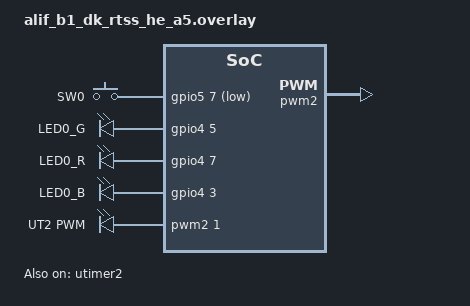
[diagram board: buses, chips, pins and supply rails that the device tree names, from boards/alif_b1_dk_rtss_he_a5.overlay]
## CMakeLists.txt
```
# Copyright (C) 2024 Alif Semiconductor - All Rights Reserved.
# Use, distribution and modification of this code is permitted under the
# terms stated in the Alif Semiconductor Software License Agreement
#
# You should have received a copy of the Alif Semiconductor Software
# License Agreement with this file. If not, please write to:
# contact@alifsemi.com, or visit: https://alifsemi.com/license

cmake_minimum_required(VERSION 3.13.1)

if(CONFIG_CHIP_FACTORY_DATA)
set(EXTRA_DTC_OVERLAY_FILE "b1_factorydata_partition.overlay")
set(OVERLAY_CONFIG "factory_data.conf")
endif()

find_package(Zephyr REQUIRED HINTS $ENV{ZEPHYR_BASE})
project(matter-lighting-app)

set(CHIP_ROOT ${ZEPHYR_CONNECTEDHOMEIP_MODULE_DIR})
set(ALIF_COMMON ${ZEPHYR_SDK_ALIF_MODULE_DIR}/subsys/matter)
set(ALIF_PLATFORM ${CHIP_ROOT}/examples/platform/alif)
set(LIGHTING_COMMON ${CHIP_ROOT}/examples/lighting-app/lighting-common)
set(MATTER_GEN_DIR ${CHIP_ROOT}/zzz_generated/)

include(${ZEPHYR_CONNECTEDHOMEIP_MODULE_DIR}/config/alif/app/enable-gnu-std.cmake)
include(${ZEPHYR_CONNECTEDHOMEIP_MODULE_DIR}/src/app/chip_data_model.cmake)

# -Wmaybe-uninitialized has too many false positives, including on std::optional
# and chip::Optional.  Make it nonfatal.
#
# See https://gcc.gnu.org/bugzilla/show_bug.cgi?id=80635
target_compile_options(app PRIVATE -Werror -Wno-error=maybe-uninitialized)

target_include_directories(app PRIVATE
                           src/include
                           ${LIGHTING_COMMON}
                           ${MATTER_GEN_DIR}
                           ${MATTER_GEN_DIR}/app-common
                           ${MATTER_GEN_DIR}/lighting-app
                           ${ALIF_COMMON}/common
                           ${ALIF_COMMON}/icd
                           ${ALIF_COMMON}/pwmdevice)

target_sources(app PRIVATE
               src/main.cpp
               src/AppTask.cpp
               src/ZclCallbacks.cpp
               ${ALIF_COMMON}/icd/icdHandler.cpp
               ${ALIF_COMMON}/pwmdevice/PWMDevice.cpp
               ${ALIF_COMMON}/common/MatterStack.cpp
               ${ALIF_COMMON}/common/MatterUi.cpp
               ${ALIF_COMMON}/common/FabricTableDelegate.cpp)
              

chip_configure_data_model(app
    INCLUDE_SERVER
    ZAP_FILE ${CMAKE_CURRENT_SOURCE_DIR}/src/lighting-app.zap
)
```

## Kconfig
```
# Copyright(C) 2024 Alif Semiconductor - All Rights Reserved.
# Use, distribution and modification of this code is permitted under the
# terms stated in the Alif Semiconductor Software License Agreement
#
# You should have received a copy of the Alif Semiconductor Software
# License Agreement with this file.If not, please write to:
# contact @alifsemi.com, or visit : https: // alifsemi.com/license

mainmenu "Matter Alif SDK Connect Lighting Example Application with shell test commands"

# Sample configuration used for Thread networking
if NET_L2_OPENTHREAD

choice OPENTHREAD_DEVICE_TYPE
	default OPENTHREAD_FTD
endchoice

endif # NET_L2_OPENTHREAD

rsource "${ZEPHYR_CONNECTEDHOMEIP_MODULE_DIR}/config/alif/chip-module/Kconfig.features"
rsource "${ZEPHYR_CONNECTEDHOMEIP_MODULE_DIR}/config/alif/chip-module/Kconfig.defaults"
source "Kconfig.zephyr"
```

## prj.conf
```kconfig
#  Copyright (C) 2024 Alif Semiconductor - All Rights Reserved.
#  Use, distribution and modification of this code is permitted under the
#  terms stated in the Alif Semiconductor Software License Agreement
#
#  You should have received a copy of the Alif Semiconductor Software
#  License Agreement with this file. If not, please write to:
#  contact@alifsemi.com, or visit: https://alifsemi.com/license

# Disable XIP
CONFIG_XIP=y

# Enable CHIP
CONFIG_CHIP=y
CONFIG_CHIP_PROJECT_CONFIG="src/include/CHIPProjectConfig.h"
# 32773 == 0x8005 (example lighting-app)
CONFIG_CHIP_DEVICE_PRODUCT_ID=32773
CONFIG_STD_CPP17=y

CONFIG_OPENTHREAD_THREAD_STACK_SIZE=8000
CONFIG_LOG_MODE_DEFERRED=y
CONFIG_LOG=y
CONFIG_SHELL=y
CONFIG_LOG_BUFFER_SIZE=5020

# General networking settings
CONFIG_NET_IF_MCAST_IPV6_ADDR_COUNT=14

# Enable CHIP pairing automatically on application start.
CONFIG_CHIP_ENABLE_PAIRING_AUTOSTART=y
# After system reset subscribe request are activated a properly automatically
CONFIG_CHIP_PERSISTENT_SUBSCRIPTIONS=y

# Enable PWM
CONFIG_PWM=y

# OpenThread configuration
CONFIG_NET_L2_OPENTHREAD=y

#Network setup
CONFIG_NET_TCP=y
CONFIG_NET_IPV6_NBR_CACHE=n
CONFIG_NET_IPV6_MLD=n
CONFIG_NET_CONFIG_NEED_IPV4=n

## Openthread parameters
CONFIG_SHELL=y
CONFIG_OPENTHREAD_SHELL=y
CONFIG_SHELL_STACK_SIZE=3072
CONFIG_OPENTHREAD_THREAD_VERSION_1_3=y
CONFIG_OPENTHREAD_FTD=y
CONFIG_OPENTHREAD_PING_SENDER=y
# Matter stack will will enable 15.4 interface
CONFIG_OPENTHREAD_MANUAL_START=y

# Bluetooth Low Energy configuration
CONFIG_BT_DEVICE_NAME="MatterLight"
CONFIG_BT_DEVICE_NAME_DYNAMIC=n

# BT configuration

CONFIG_BT=y
CONFIG_BT_CENTRAL=y
CONFIG_BT_PERIPHERAL=y
CONFIG_BT_PRIVACY=n
CONFIG_BT_SMP=y
CONFIG_BT_SIGNING=y
CONFIG_BT_ATT_PREPARE_COUNT=2
CONFIG_BT_GATT_CLIENT=y
CONFIG_BT_L2CAP_DYNAMIC_CHANNEL=y
CONFIG_BT_TINYCRYPT_ECC=y
CONFIG_BT_SHELL=y
CONFIG_BT_L2CAP_TX_BUF_COUNT=4
CONFIG_BT_ID_MAX=2
CONFIG_BT_EATT=y
CONFIG_BT_L2CAP_ECRED=y
CONFIG_BT_GATT_DYNAMIC_DB=y
CONFIG_BT_FILTER_ACCEPT_LIST=y
CONFIG_BT_REMOTE_INFO=y
CONFIG_BT_REMOTE_VERSION=y
CONFIG_BT_GATT_AUTO_DISCOVER_CCC=y

CONFIG_BT_EXT_ADV=y
CONFIG_BT_EXT_ADV_LEGACY_SUPPORT=y
CONFIG_BT_PER_ADV=y
CONFIG_BT_PER_ADV_SYNC=y

CONFIG_BT_USER_DATA_LEN_UPDATE=y
CONFIG_BT_AUTO_DATA_LEN_UPDATE=y

CONFIG_BT_USER_PHY_UPDATE=y
CONFIG_BT_AUTO_PHY_UPDATE=y

# Other settings
CONFIG_THREAD_NAME=y
CONFIG_CHIP_LIB_SHELL=y

# Reduce application size
CONFIG_USE_SEGGER_RTT=n

# Flash and Settings storage configutaion
CONFIG_FLASH=y
CONFIG_FLASH_PAGE_LAYOUT=y
CONFIG_FLASH_MAP=y
CONFIG_NVS=y
CONFIG_SETTINGS=y

# Disable GET Opt for fix duplicate implementation
CONFIG_GETOPT=n
CONFIG_IEEE802154_ALIF_AHI_MSG_LIB=y
```

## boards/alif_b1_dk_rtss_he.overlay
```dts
/* Copyright (C) 2024 Alif Semiconductor - All Rights Reserved.
 * Use, distribution and modification of this code is permitted under the
 * terms stated in the Alif Semiconductor Software License Agreement
 *
 * You should have received a copy of the Alif Semiconductor Software
 * License Agreement with this file. If not, please write to:
 * contact@alifsemi.com, or visit: https://alifsemi.com/license
 */
#include <dt-bindings/pinctrl/balletto-pinctrl.h>
#include <dt-bindings/gpio/gpio.h>
#include <zephyr/dt-bindings/input/input-event-codes.h>

/* for "buttons" node gpio5_7 & 5_6, enable software pull-up */


&{/} {
	chosen {
		zephyr,console = &uart2;
		zephyr,shell-uart = &uart2;
		zephyr,bt-uart = &uart_hci;
	};

	aliases {
		led0 = &aled1;
		led2 = &aled2;
		pwm-led0 = &pwm_ut2;
		sw0 = &button0;
	};

	buttons {
		compatible = "gpio-keys";
		button0: button_0 {
			gpios = < &gpio5 7 GPIO_ACTIVE_LOW >;
			label = "SW0";
			zephyr,code = <INPUT_KEY_0>;
		};
	};

	leds {
		compatible = "gpio-leds";
		aled0: led_0 {
			gpios = <&gpio4 5 0>;
			label = "LED0_G";
		};

		aled1: led_1 {
			gpios = <&gpio4 7 0>;
			label = "LED0_R";
		};

		aled2: led_2 {
			gpios = <&gpio4 3 0>;
			label = "LED0_B";
		};
	};
};

&pinctrl_gpio5 {
	group0 {
		pinmux = < PIN_P5_0__GPIO >,
			 < PIN_P5_1__GPIO >,
			 < PIN_P5_2__GPIO >,
			 < PIN_P5_3__GPIO >,
			 < PIN_P5_4__GPIO >,
			 < PIN_P5_5__GPIO >,
			 < PIN_P5_6__GPIO >,
			 < PIN_P5_7__GPIO >;
		read_enable = < 0x1 >;
	};

	group1 {
		pinmux = < PIN_P5_7__GPIO >;
		driver_state_control = <1>;
	};
};
```

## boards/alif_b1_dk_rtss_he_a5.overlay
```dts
/* Copyright (C) 2024 Alif Semiconductor - All Rights Reserved.
 * Use, distribution and modification of this code is permitted under the
 * terms stated in the Alif Semiconductor Software License Agreement
 *
 * You should have received a copy of the Alif Semiconductor Software
 * License Agreement with this file. If not, please write to:
 * contact@alifsemi.com, or visit: https://alifsemi.com/license
 */
#include <dt-bindings/pinctrl/balletto-pinctrl.h>
#include <dt-bindings/gpio/gpio.h>
#include <zephyr/dt-bindings/input/input-event-codes.h>

/* for "buttons" node gpio5_7 & 5_6, enable software pull-up */

&{/} {
	chosen {
		zephyr,console = &uart2;
		zephyr,shell-uart = &uart2;
		zephyr,bt-uart = &uart_hci;
	};

	aliases {
		led0 = &aled1;
		led2 = &aled2;
		pwm-led0 = &pwm_ut2;
		sw0 = &button0;
	};

	buttons {
		compatible = "gpio-keys";
		button0: button_0 {
			gpios = < &gpio5 7 GPIO_ACTIVE_LOW >;
			label = "SW0";
			zephyr,code = <INPUT_KEY_0>;
		};
	};

	leds {
		compatible = "gpio-leds";
		aled0: led_0 {
			gpios = <&gpio4 5 0>;
			label = "LED0_G";
		};

		aled1: led_1 {
			gpios = <&gpio4 7 0>;
			label = "LED0_R";
		};

		aled2: led_2 {
			gpios = <&gpio4 3 0>;
			label = "LED0_B";
		};
	};
	pwmleds {
		compatible = "pwm-leds";
		pwm_ut2: pwm_ut2 {
			pwms = <&pwm2 1 PWM_MSEC(20) PWM_POLARITY_NORMAL>;
			label = "UT2 PWM";
		};
	};
};

&utimer2 {
	status = "okay";
	pwm2: pwm2 {
		pinctrl-0 = < &pinctrl_ut2 >;
		pinctrl-names = "default";
		status = "okay";
	};
};

&pinctrl_gpio5 {
	group0 {
		pinmux = < PIN_P5_0__GPIO >,
			 < PIN_P5_1__GPIO >,
			 < PIN_P5_2__GPIO >,
			 < PIN_P5_3__GPIO >,
			 < PIN_P5_4__GPIO >,
			 < PIN_P5_5__GPIO >,
			 < PIN_P5_6__GPIO >,
			 < PIN_P5_7__GPIO >;
		read_enable = < 0x1 >;
	};

	group1 {
		pinmux = < PIN_P5_7__GPIO >;
		driver_state_control = <1>;
	};
};
```

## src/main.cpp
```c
/* Copyright (C) 2024 Alif Semiconductor - All Rights Reserved.
 * Use, distribution and modification of this code is permitted under the
 * terms stated in the Alif Semiconductor Software License Agreement
 *
 * You should have received a copy of the Alif Semiconductor Software
 * License Agreement with this file. If not, please write to:
 * contact@alifsemi.com, or visit: https://alifsemi.com/license
 */

#include "AppTask.h"

#include <cstdlib>
#include <zephyr/logging/log.h>

LOG_MODULE_REGISTER(app, CONFIG_CHIP_APP_LOG_LEVEL);

int main()
{
	CHIP_ERROR err = AppTask::Instance().StartApp();

	LOG_ERR("Exited with code %" CHIP_ERROR_FORMAT, err.Format());
	return err == CHIP_NO_ERROR ? EXIT_SUCCESS : EXIT_FAILURE;
}
```

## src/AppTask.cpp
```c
/* Copyright (C) 2024 Alif Semiconductor - All Rights Reserved.
 * Use, distribution and modification of this code is permitted under the
 * terms stated in the Alif Semiconductor Software License Agreement
 *
 * You should have received a copy of the Alif Semiconductor Software
 * License Agreement with this file. If not, please write to:
 * contact@alifsemi.com, or visit: https://alifsemi.com/license
 */

#include "AppTask.h"

#include "AppConfig.h"
#include "MatterStack.h"
#include "MatterUi.h"
#include "PWMDevice.h"
#include "icdHandler.h"
#include <app/InteractionModelEngine.h>
#include <DeviceInfoProviderImpl.h>
#include <app-common/zap-generated/attributes/Accessors.h>
#include <app/DeferredAttributePersistenceProvider.h>
#include <app/clusters/identify-server/identify-server.h>
#include <app/server/Dnssd.h>
#include <app/server/OnboardingCodesUtil.h>
#include <app/server/Server.h>
#include <credentials/DeviceAttestationCredsProvider.h>
#include <credentials/examples/DeviceAttestationCredsExample.h>
#include <lib/core/ErrorStr.h>
#include <lib/support/CHIPMem.h>
#include <lib/support/CodeUtils.h>
#include <system/SystemClock.h>

#include <zephyr/kernel.h>
#include <zephyr/device.h>
#include <zephyr/drivers/pwm.h>
#include <zephyr/logging/log.h>

LOG_MODULE_DECLARE(app, CONFIG_CHIP_APP_LOG_LEVEL);

using namespace ::chip;
using namespace ::chip::app;
using namespace ::chip::DeviceLayer;

namespace
{

constexpr EndpointId kLightEndpointId = 1;
constexpr uint8_t kDefaultMinLevel = 0;
constexpr uint8_t kDefaultMaxLevel = 254;
constexpr int kAppEventQueueSize = 10;

K_MSGQ_DEFINE(sAppEventQueue, sizeof(AppEvent), kAppEventQueueSize, alignof(AppEvent));

// Create Identify server
Identify sIdentify = {kLightEndpointId, AppTask::IdentifyStartHandler, AppTask::IdentifyStopHandler,
		      Clusters::Identify::IdentifyTypeEnum::kVisibleIndicator};

chip::DeviceLayer::DeviceInfoProviderImpl gExampleDeviceInfoProvider;

DeferredAttribute gCurrentLevelPersister(
	ConcreteAttributePath(kLightEndpointId, Clusters::LevelControl::Id,
			      Clusters::LevelControl::Attributes::CurrentLevel::Id));
DeferredAttributePersistenceProvider
	gDeferredAttributePersister(Server::GetInstance().GetDefaultAttributePersister(),
				    Span<DeferredAttribute>(&gCurrentLevelPersister, 1),
				    System::Clock::Milliseconds32(5000));

const struct pwm_dt_spec sLightPwmDevice = PWM_DT_SPEC_GET(DT_ALIAS(pwm_led0));

} // namespace

CHIP_ERROR AppTask::DevInit()
{
	LOG_INF("Init Lighting-app cluster");

	// Initialize lighting device (PWM)
	uint8_t minLightLevel = kDefaultMinLevel;
	Clusters::LevelControl::Attributes::MinLevel::Get(kLightEndpointId, &minLightLevel);

	uint8_t maxLightLevel = kDefaultMaxLevel;
	Clusters::LevelControl::Attributes::MaxLevel::Get(kLightEndpointId, &maxLightLevel);

	uint8_t current = 0;
	app::DataModel::Nullable<uint8_t> currentLevel;

	Clusters::LevelControl::Attributes::CurrentLevel::Get(kLightEndpointId, currentLevel);
	if (!currentLevel.IsNull()) {
		current = currentLevel.Value();
	}

	int ret = Instance().mPWMDevice.Init(&sLightPwmDevice, minLightLevel, maxLightLevel, maxLightLevel);
	if (ret != 0) {
		return chip::System::MapErrorZephyr(ret);
	}
	// Register PWM device init and activate callback's
	Instance().mPWMDevice.SetCallbacks(ActionInitiated, ActionCompleted);
	/* SET a stored value */
	if (current) {
		AppTask::Instance().GetPWMDevice().InitiateAction(
			PWMDevice::LEVEL_ACTION,
			static_cast<int32_t>(AppEventType::Lighting),
			reinterpret_cast<uint8_t *>(&current));
	}

	// Init modified persistent storage setup
	gExampleDeviceInfoProvider.SetStorageDelegate(
		&Server::GetInstance().GetPersistentStorage());
	chip::DeviceLayer::SetDeviceInfoProvider(&gExampleDeviceInfoProvider);
	app::SetAttributePersistenceProvider(&gDeferredAttributePersister);
	MatterUi::Instance().Init(AppTask::ButtonUpdateHandler);

	return CHIP_NO_ERROR;
}

void AppTask::ButtonUpdateHandler(uint32_t button_state, uint32_t has_changed)
{
	if (has_changed & 1) {
		if (button_state & 1) {
			LOG_INF("Factoryreset button pressed");
		} else {
			LOG_INF("Factoryreset button released");
		}
		MatterUi::Instance().AppFactoryResetEventTrig();
	}
}

void AppTask::PostEvent(AppEvent *aEvent)
{
	if (!aEvent) {
		return;
	}

	if (k_msgq_put(&sAppEventQueue, aEvent, K_NO_WAIT) != 0) {
		LOG_INF("PostEvent fail");
	}
}

void AppTask::DispatchEvent(const AppEvent *aEvent)
{
	if (!aEvent) {
		return;
	}
	if (aEvent->Handler) {
		aEvent->Handler(aEvent);
	} else {
		LOG_INF("Dropping event without handler");
	}
}

void AppTask::GetEvent(AppEvent *aEvent)
{
	k_msgq_get(&sAppEventQueue, aEvent, K_FOREVER);
}

void AppTask::IdentifyStartHandler(Identify *)
{
	AppEvent event;
	event.Type = AppEventType::IdentifyStart;
	event.Handler = [](const AppEvent *) {
		MatterStack::Instance().IdentifyLedState(true);
		LOG_INF("Identify start");
	};
	PostEvent(&event);
}

void AppTask::IdentifyStopHandler(Identify *)
{
	AppEvent event;
	event.Type = AppEventType::IdentifyStop;
	event.Handler = [](const AppEvent *) {
		LOG_INF("Identify stop");
		MatterStack::Instance().IdentifyLedState(false);
	};
	PostEvent(&event);
}

void AppTask::LightingActionEventHandler(const AppEvent *event)
{
	if (event->Type != AppEventType::Lighting) {
		return;
	}

	PWMDevice::Action_t action = static_cast<PWMDevice::Action_t>(event->LightingEvent.Action);
	int32_t actor = event->LightingEvent.Actor;

	LOG_INF("Light state to %d by %d", action, actor);

	if (Instance().mPWMDevice.InitiateAction(action, actor, NULL)) {
		LOG_INF("Action is already in progress or active.");
	}
}

void AppTask::StartBLEAdvertisementHandler(const AppEvent *)
{
	if (Server::GetInstance().GetFabricTable().FabricCount() != 0) {
		LOG_INF("Matter service BLE advertising not started - device is already "
			"commissioned");
		return;
	}

	if (ConnectivityMgr().IsBLEAdvertisingEnabled()) {
		LOG_INF("BLE advertising is already enabled");
		return;
	}

	if (Server::GetInstance().GetCommissioningWindowManager().OpenBasicCommissioningWindow() !=
	    CHIP_NO_ERROR) {
		LOG_ERR("OpenBasicCommissioningWindow() failed");
	}
}

void AppTask::ActionInitiated(PWMDevice::Action_t action, int32_t actor)
{
	if (action == PWMDevice::ON_ACTION) {
		LOG_INF("Turn On Action has been initiated");
	} else if (action == PWMDevice::OFF_ACTION) {
		LOG_INF("Turn Off Action has been initiated");
	} else if (action == PWMDevice::LEVEL_ACTION) {
		LOG_INF("Level Action has been initiated");
	}
	MatterStack::Instance().StatusLedBlink();
}

void AppTask::ActionCompleted(PWMDevice::Action_t action, int32_t actor)
{
	if (action == PWMDevice::ON_ACTION) {
		LOG_INF("Turn On Action has been completed");
	} else if (action == PWMDevice::OFF_ACTION) {
		LOG_INF("Turn Off Action has been completed");
	} else if (action == PWMDevice::LEVEL_ACTION) {
		LOG_INF("Level Action has been completed");
	}

	if (actor == static_cast<int32_t>(AppEventType::ShellButton)) {
		Instance().UpdateClusterState();
	}
}

void AppTask::UpdateClusterState()
{
	SystemLayer().ScheduleLambda([this] {
		// write the new on/off value
		Protocols::InteractionModel::Status status =
			Clusters::OnOff::Attributes::OnOff::Set(kLightEndpointId,
								mPWMDevice.IsTurnedOn());

		if (status != Protocols::InteractionModel::Status::Success) {
			LOG_ERR("Updating on/off cluster failed: %x", to_underlying(status));
		}

		// write the current level
		status = Clusters::LevelControl::Attributes::CurrentLevel::Set(
			kLightEndpointId, mPWMDevice.GetLevel());

		if (status != Protocols::InteractionModel::Status::Success) {
			LOG_ERR("Updating level cluster failed: %x", to_underlying(status));
		}
	});
}

CHIP_ERROR AppTask::Init()
{
	/* Initialize Matter stack */
	ReturnErrorOnFailure(MatterStack::Instance().matter_stack_init(DevInit));

	chip::app::InteractionModelEngine::GetInstance()->RegisterReadHandlerAppCallback(
		&ICDHandler::Instance());

	/* Start Matter sheduler */
	ReturnErrorOnFailure(MatterStack::Instance().matter_stack_start());

	return CHIP_NO_ERROR;
}

CHIP_ERROR AppTask::StartApp()
{
	ReturnErrorOnFailure(Init());

	AppEvent event = {};

	while (true) {
		GetEvent(&event);
		DispatchEvent(&event);
	}

	return CHIP_NO_ERROR;
}
```

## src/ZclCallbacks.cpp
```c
/* Copyright (C) 2024 Alif Semiconductor - All Rights Reserved.
 * Use, distribution and modification of this code is permitted under the
 * terms stated in the Alif Semiconductor Software License Agreement
 *
 * You should have received a copy of the Alif Semiconductor Software
 * License Agreement with this file. If not, please write to:
 * contact@alifsemi.com, or visit: https://alifsemi.com/license
 */

#include "AppTask.h"
#include "PWMDevice.h"

#include <app-common/zap-generated/attributes/Accessors.h>
#include <app-common/zap-generated/ids/Attributes.h>
#include <app-common/zap-generated/ids/Clusters.h>
#include <app/ConcreteAttributePath.h>

#include <zephyr/logging/log.h>

LOG_MODULE_DECLARE(app, CONFIG_CHIP_APP_LOG_LEVEL);

using namespace chip;
using namespace chip::app::Clusters;
using namespace chip::app::Clusters::OnOff;

void MatterPostAttributeChangeCallback(const chip::app::ConcreteAttributePath &attributePath,
				       uint8_t type, uint16_t size, uint8_t *value)
{
	ClusterId clusterId = attributePath.mClusterId;
	AttributeId attributeId = attributePath.mAttributeId;

	if (clusterId == OnOff::Id && attributeId == OnOff::Attributes::OnOff::Id) {
		LOG_INF("Cluster OnOff: attribute OnOff set to %u", *value);
		AppTask::Instance().GetPWMDevice().InitiateAction(
			*value ? PWMDevice::ON_ACTION : PWMDevice::OFF_ACTION,
			static_cast<int32_t>(AppEventType::Lighting), value);
	} else if (clusterId == LevelControl::Id &&
		   attributeId == LevelControl::Attributes::CurrentLevel::Id) {
		LOG_INF("Cluster LevelControl: attribute CurrentLevel set to %u", *value);
		if (AppTask::Instance().GetPWMDevice().IsTurnedOn()) {
			AppTask::Instance().GetPWMDevice().InitiateAction(
				PWMDevice::LEVEL_ACTION,
				static_cast<int32_t>(AppEventType::Lighting), value);
		} else {
			LOG_INF("LED is off. Try to use move-to-level-with-on-off "
				"instead of move-to-level");
		}
	}
}

void emberAfOnOffClusterInitCallback(EndpointId endpoint)
{
	/* Device init will handle Cluster  */
}
```
